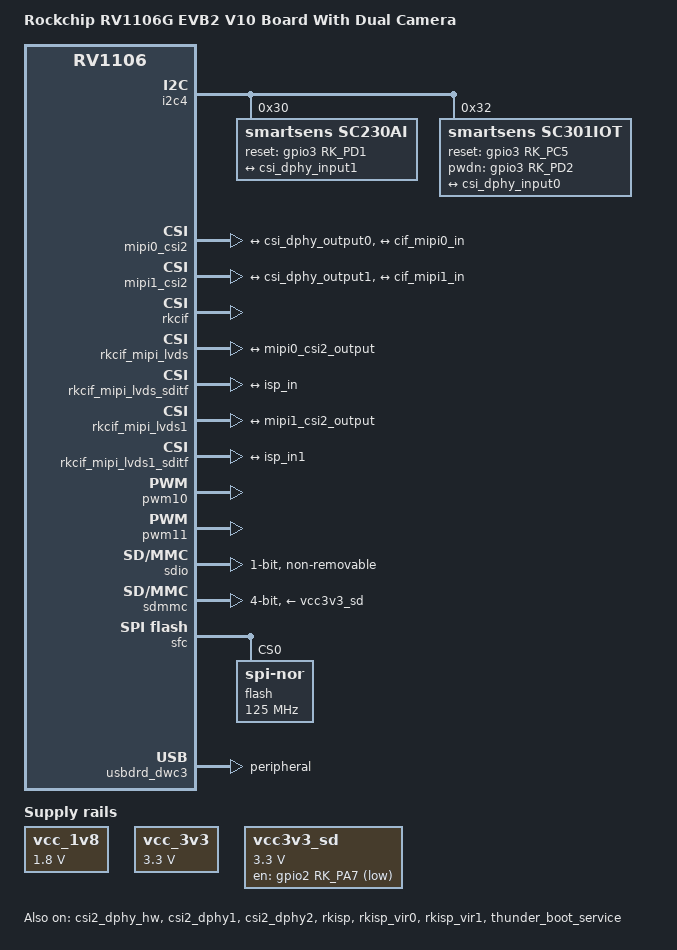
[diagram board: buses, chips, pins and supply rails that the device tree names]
// SPDX-License-Identifier: (GPL-2.0+ OR MIT)
/*
 * Copyright (c) 2023 Rockchip Electronics Co., Ltd.
 */

/dts-v1/;

#include "rv1106.dtsi"
#include "rv1106-evb-v10.dtsi"
#include "rv1106-thunder-boot-spi-nor.dtsi"

/ {
	model = "Rockchip RV1106G EVB2 V10 Board With Dual Camera";
	compatible = "rockchip,rv1106g-evb2-v10-dual-camera", "rockchip,rv1106";

	chosen {
		bootargs = "loglevel=0 rootfstype=erofs rootflags=dax console=ttyFIQ0 root=/dev/rd0 snd_soc_core.prealloc_buffer_size_kbytes=16 coherent_pool=0 driver_async_probe=dwmmc_rockchip";
	};

	vcc_1v8: vcc-1v8 {
		compatible = "regulator-fixed";
		regulator-name = "vcc_1v8";
		regulator-always-on;
		regulator-boot-on;
		regulator-min-microvolt = <1800000>;
		regulator-max-microvolt = <1800000>;
	};

	vcc_3v3: vcc-3v3 {
		compatible = "regulator-fixed";
		regulator-name = "vcc_3v3";
		regulator-always-on;
		regulator-boot-on;
		regulator-min-microvolt = <3300000>;
		regulator-max-microvolt = <3300000>;
	};

	vcc3v3_sd: vcc3v3-sd {
		compatible = "regulator-fixed";
		gpio = <&gpio2 RK_PA7 GPIO_ACTIVE_LOW>;
		regulator-name = "vcc3v3_sd";
		regulator-min-microvolt = <3300000>;
		regulator-max-microvolt = <3300000>;
		pinctrl-names = "default";
		pinctrl-0 = <&sdmmc_pwren>;
	};
};

&csi2_dphy_hw {
	status = "okay";
};

&csi2_dphy1 {
	status = "okay";

	ports {
		#address-cells = <1>;
		#size-cells = <0>;

		port@0 {
			reg = <0>;
			#address-cells = <1>;
			#size-cells = <0>;

			csi_dphy_input0: endpoint@0 {
				reg = <0>;
				remote-endpoint = <&sc301iot_out>;
				data-lanes = <1 2>;
			};
		};

		port@1 {
			reg = <1>;
			#address-cells = <1>;
			#size-cells = <0>;

			csi_dphy_output0: endpoint@0 {
				reg = <0>;
				remote-endpoint = <&mipi0_csi2_input>;
			};
		};
	};
};

&csi2_dphy2 {
	status = "okay";

	ports {
		#address-cells = <1>;
		#size-cells = <0>;

		port@0 {
			reg = <0>;
			#address-cells = <1>;
			#size-cells = <0>;

			csi_dphy_input1: endpoint@0 {
				reg = <0>;
				remote-endpoint = <&sc230ai_out>;
				data-lanes = <1 2>;
			};
		};

		port@1 {
			reg = <1>;
			#address-cells = <1>;
			#size-cells = <0>;

			csi_dphy_output1: endpoint@0 {
				reg = <0>;
				remote-endpoint = <&mipi1_csi2_input>;
			};
		};
	};
};

&emmc {
	status = "disabled";
};

&fiq_debugger {
	rockchip,baudrate = <1500000>;
	pinctrl-names = "default";
	pinctrl-0 = <&uart2m1_xfer>;
};

&i2c4 {
	rockchip,amp-shared;

	sc230ai: sc230ai@30 {
		compatible = "smartsens,sc230ai";
		status = "okay";
		reg = <0x30>;
		clocks = <&cru MCLK_REF_MIPI1>;
		clock-names = "xvclk";
		reset-gpios = <&gpio3 RK_PD1 GPIO_ACTIVE_HIGH>;
		pinctrl-names = "default";
		pinctrl-0 = <&mipi_refclk_out1>;
		rockchip,camera-module-index = <1>;
		rockchip,camera-module-facing = "back";
		rockchip,camera-module-name = "CMK-OT2350-PC1";
		rockchip,camera-module-lens-name = "65IRC-F16";
		port {
			sc230ai_out: endpoint {
				remote-endpoint = <&csi_dphy_input1>;
				data-lanes = <1 2>;
			};
		};
	};

	sc301iot: sc301iot@32 {
		compatible = "smartsens,sc301iot";
		status = "okay";
		reg = <0x32>;
		clocks = <&cru MCLK_REF_MIPI0>;
		clock-names = "xvclk";
		reset-gpios = <&gpio3 RK_PC5 GPIO_ACTIVE_HIGH>;
		pwdn-gpios = <&gpio3 RK_PD2 GPIO_ACTIVE_HIGH>;
		pinctrl-names = "default";
		pinctrl-0 = <&mipi_refclk_out0>;
		rockchip,camera-module-index = <0>;
		rockchip,camera-module-facing = "back";
		rockchip,camera-module-name = "CMK-OT2349-PC1";
		rockchip,camera-module-lens-name = "65IRC-F20";
		port {
			sc301iot_out: endpoint {
				remote-endpoint = <&csi_dphy_input0>;
				data-lanes = <1 2>;
			};
		};
	};
};

&mipi0_csi2 {
	status = "okay";

	ports {
		#address-cells = <1>;
		#size-cells = <0>;

		port@0 {
			reg = <0>;
			#address-cells = <1>;
			#size-cells = <0>;

			mipi0_csi2_input: endpoint@1 {
				reg = <1>;
				remote-endpoint = <&csi_dphy_output0>;
			};
		};

		port@1 {
			reg = <1>;
			#address-cells = <1>;
			#size-cells = <0>;

			mipi0_csi2_output: endpoint@0 {
				reg = <0>;
				remote-endpoint = <&cif_mipi0_in>;
			};
		};
	};
};

&mipi1_csi2 {
	status = "okay";

	ports {
		#address-cells = <1>;
		#size-cells = <0>;

		port@0 {
			reg = <0>;
			#address-cells = <1>;
			#size-cells = <0>;

			mipi1_csi2_input: endpoint@1 {
				reg = <1>;
				remote-endpoint = <&csi_dphy_output1>;
			};
		};

		port@1 {
			reg = <1>;
			#address-cells = <1>;
			#size-cells = <0>;

			mipi1_csi2_output: endpoint@0 {
				reg = <0>;
				remote-endpoint = <&cif_mipi1_in>;
			};
		};
	};
};

&mailbox {
	status = "okay";
};

&rkcif {
	status = "okay";
	pinctrl-names = "default";
	pinctrl-0 = <&mipi_pins>;
};

&rkcif_mipi_lvds {
	status = "okay";
	memory-region-thunderboot = <&rkisp_thunderboot>;

	port {
		/* MIPI CSI-2 endpoint */
		cif_mipi0_in: endpoint {
			remote-endpoint = <&mipi0_csi2_output>;
		};
	};
};

&rkcif_mipi_lvds_sditf {
	status = "okay";

	port {
		/* MIPI CSI-2 endpoint */
		mipi_lvds_sditf: endpoint {
			remote-endpoint = <&isp_in>;
		};
	};
};

&rkcif_mipi_lvds1 {
	status = "okay";
	memory-region-thunderboot = <&rkisp1_thunderboot>;

	port {
		/* MIPI CSI-2 endpoint */
		cif_mipi1_in: endpoint {
			remote-endpoint = <&mipi1_csi2_output>;
		};
	};
};

&rkcif_mipi_lvds1_sditf {
	status = "okay";

	port {
		/* MIPI CSI-2 endpoint */
		mipi_lvds1_sditf: endpoint {
			remote-endpoint = <&isp_in1>;
		};
	};
};

&rkisp {
	status = "okay";
};

&rkisp_vir0 {
	status = "okay";
	memory-region-thunderboot = <&rkisp_thunderboot>;

	port@0 {
		isp_in: endpoint {
			remote-endpoint = <&mipi_lvds_sditf>;
		};
	};
};

&rkisp_vir1 {
	status = "okay";
	memory-region-thunderboot = <&rkisp_thunderboot>;

	port@0 {
		isp_in1: endpoint {
			remote-endpoint = <&mipi_lvds1_sditf>;
		};
	};
};

&thunder_boot_service {
	status = "okay";
};

&meta{
	/* reg's offset MUST match with RTOS */
	reg = <0x00800000 0xb0000>;
};

&rkisp_thunderboot {
	/* reg's offset MUST match with RTOS */
	/*
	 * vicap, capture raw10, ceil(w*10/8/256)*256*h *4(buf num)
	 * e.g. 2048x1536: 0xf00000
	 * 0x008b0000 = (meta's reg offset) + (meta's reg size)
	 *            = 0x00800000 + 0xb0000
	 */
	reg = <0x008b0000 0xf00000>;
};

&ramdisk_r {
	reg = <0x17b0000 (10 * 0x00100000)>;
};

&ramdisk_c {
	reg = <0x21b0000 (5 * 0x00100000)>;
};

&rkisp1_thunderboot {
	/*
	 * vicap, capture raw10, ceil(w*10/8/256)*256*h *4(buf num)
	 * e.g. 1920x1080: 0xa8c0000
	 * 0x26b0000  = (ramdisk_c's reg offset) + (ramdisk_c's reg size)
	 *            = 0x21b0000 + (5 * 0x00100000)
	 */
	reg = <0x26b0000 0xa8c000>;
};

&pinctrl {
	sdmmc {
		/omit-if-no-ref/
		sdmmc_pwren: sdmmc-pwren {
			rockchip,pins = <2 RK_PA7 RK_FUNC_GPIO &pcfg_pull_none>;
		};
	};
};

&pwm10 {
	status = "okay";
};

&pwm11 {
	status = "okay";
};

&sdio {
	max-frequency = <50000000>;
	bus-width = <1>;
	cap-sd-highspeed;
	cap-sdio-irq;
	keep-power-in-suspend;
	non-removable;
	rockchip,default-sample-phase = <90>;
	no-sd;
	no-mmc;
	supports-sdio;
	pinctrl-names = "default";
	pinctrl-0 = <&sdmmc1m0_cmd &sdmmc1m0_clk &sdmmc1m0_bus4>;
	status = "okay";
};

&sdmmc {
	max-frequency = <200000000>;
	no-sdio;
	no-mmc;
	bus-width = <4>;
	cap-mmc-highspeed;
	cap-sd-highspeed;
	disable-wp;
	pinctrl-names = "normal", "idle";
	pinctrl-0 = <&sdmmc0_clk &sdmmc0_cmd &sdmmc0_det &sdmmc0_bus4>;
	pinctrl-1 = <&sdmmc0_idle_pins &sdmmc0_det>;
	vmmc-supply = <&vcc3v3_sd>;
	status = "okay";
};

&sfc {
	assigned-clocks = <&cru SCLK_SFC>;
	assigned-clock-rates = <125000000>;
	status = "okay";

	flash@0 {
		compatible = "jedec,spi-nor";
		reg = <0>;
		spi-max-frequency = <125000000>;
		spi-rx-bus-width = <4>;
		spi-tx-bus-width = <1>;
	};
};

&usbdrd_dwc3 {
	dr_mode = "peripheral";
};
